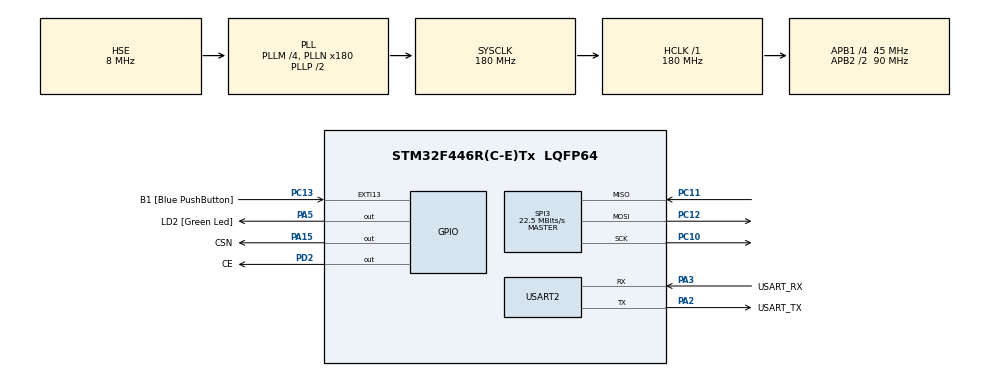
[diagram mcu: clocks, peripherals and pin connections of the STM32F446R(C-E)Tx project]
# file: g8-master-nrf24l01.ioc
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Mcu.Family=STM32F4
Mcu.Name=STM32F446R(C-E)Tx
Mcu.Package=LQFP64
NVIC.PriorityGroup=NVIC_PRIORITYGROUP_0
PA13.GPIO_Label=TMS
PA13.Mode=Serial_Wire
PA13.Signal=SYS_JTMS-SWDIO
PA14.GPIO_Label=TCK
PA14.Mode=Serial_Wire
PA14.Signal=SYS_JTCK-SWCLK
PA15.GPIO_Label=CSN
PA15.Signal=GPIO_Output
PA2.GPIO_Label=USART_TX
PA2.Mode=Asynchronous
PA2.Signal=USART2_TX
PA3.GPIO_Label=USART_RX
PA3.Mode=Asynchronous
PA3.Signal=USART2_RX
PA5.GPIO_Label=LD2 [Green Led]
PA5.Signal=GPIO_Output
PB3.GPIO_Label=SWO
PB3.Signal=SYS_JTDO-SWO
PC10.Mode=Full_Duplex_Master
PC10.Signal=SPI3_SCK
PC11.Mode=Full_Duplex_Master
PC11.Signal=SPI3_MISO
PC12.Mode=Full_Duplex_Master
PC12.Signal=SPI3_MOSI
PC13.GPIO_Label=B1 [Blue PushButton]
PC13.GPIO_ModeDefaultEXTI=GPIO_MODE_IT_FALLING
PC13.Signal=GPXTI13
PC14-OSC32_IN.Mode=LSE-External-Oscillator
PC14-OSC32_IN.Signal=RCC_OSC32_IN
PC15-OSC32_OUT.Mode=LSE-External-Oscillator
PC15-OSC32_OUT.Signal=RCC_OSC32_OUT
PD2.GPIO_Label=CE
PD2.Signal=GPIO_Output
PH0-OSC_IN.Mode=HSE-External-Oscillator
PH0-OSC_IN.Signal=RCC_OSC_IN
PH1-OSC_OUT.Mode=HSE-External-Oscillator
PH1-OSC_OUT.Signal=RCC_OSC_OUT
ProjectManager.HeapSize=0x200
ProjectManager.StackSize=0x400
ProjectManager.TargetToolchain=SW4STM32
RCC.48MHZClocksFreq_Value=84000000
RCC.AHBFreq_Value=180000000
RCC.APB1CLKDivider=RCC_HCLK_DIV4
RCC.APB1Freq_Value=45000000
RCC.APB1TimFreq_Value=90000000
RCC.APB2CLKDivider=RCC_HCLK_DIV2
RCC.APB2Freq_Value=90000000
RCC.APB2TimFreq_Value=180000000
RCC.CortexFreq_Value=180000000
RCC.FLatency-AdvancedSettings=FLASH_LATENCY_5
RCC.HCLKFreq_Value=180000000
RCC.HSE_VALUE=8000000
RCC.HSI_VALUE=16000000
RCC.PLLM=4
RCC.PLLN=180
RCC.PLLSourceVirtual=RCC_PLLSOURCE_HSE
RCC.SYSCLKFreq_VALUE=180000000
RCC.SYSCLKSource=RCC_SYSCLKSOURCE_PLLCLK
RCC.USBFreq_Value=180000000
RCC.VCOOutputFreq_Value=360000000
SPI3.CalculateBaudRate=22.5 MBits/s
SPI3.Direction=SPI_DIRECTION_2LINES
SPI3.Mode=SPI_MODE_MASTER
SPI3.VirtualType=VM_MASTER
USART2.VirtualMode=VM_ASYNC
board=NUCLEO-F446RE

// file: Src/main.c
/**
  ******************************************************************************
  * @file           : main.c
  * @brief          : Main program body
  ******************************************************************************
  ** This notice applies to any and all portions of this file
  * that are not between comment pairs USER CODE BEGIN and
  * USER CODE END. Other portions of this file, whether
  * inserted by the user or by software development tools
  * are owned by their respective copyright owners.
  *
  * COPYRIGHT(c) 2018 STMicroelectronics
  *
  * Redistribution and use in source and binary forms, with or without modification,
  * are permitted provided that the following conditions are met:
  *   1. Redistributions of source code must retain the above copyright notice,
  *      this list of conditions and the following disclaimer.
  *   2. Redistributions in binary form must reproduce the above copyright notice,
  *      this list of conditions and the following disclaimer in the documentation
  *      and/or other materials provided with the distribution.
  *   3. Neither the name of STMicroelectronics nor the names of its contributors
  *      may be used to endorse or promote products derived from this software
  *      without specific prior written permission.
  *
  * THIS SOFTWARE IS PROVIDED BY THE COPYRIGHT HOLDERS AND CONTRIBUTORS "AS IS"
  * AND ANY EXPRESS OR IMPLIED WARRANTIES, INCLUDING, BUT NOT LIMITED TO, THE
  * IMPLIED WARRANTIES OF MERCHANTABILITY AND FITNESS FOR A PARTICULAR PURPOSE ARE
  * DISCLAIMED. IN NO EVENT SHALL THE COPYRIGHT HOLDER OR CONTRIBUTORS BE LIABLE
  * FOR ANY DIRECT, INDIRECT, INCIDENTAL, SPECIAL, EXEMPLARY, OR CONSEQUENTIAL
  * DAMAGES (INCLUDING, BUT NOT LIMITED TO, PROCUREMENT OF SUBSTITUTE GOODS OR
  * SERVICES; LOSS OF USE, DATA, OR PROFITS; OR BUSINESS INTERRUPTION) HOWEVER
  * CAUSED AND ON ANY THEORY OF LIABILITY, WHETHER IN CONTRACT, STRICT LIABILITY,
  * OR TORT (INCLUDING NEGLIGENCE OR OTHERWISE) ARISING IN ANY WAY OUT OF THE USE
  * OF THIS SOFTWARE, EVEN IF ADVISED OF THE POSSIBILITY OF SUCH DAMAGE.
  *
  ******************************************************************************
  */
#include "main.h"
#include "stm32f4xx_hal.h"
#include "spi.h"
#include "usart.h"
#include "gpio.h"

/* USER CODE BEGIN Includes */

#include "lcd.h"
#include "nRF24L01.h"

/* USER CODE END Includes */

/* USER CODE BEGIN PV */
/* Private variables ---------------------------------------------------------*/
/* Channel */
#define MY_CHANNEL 106
//#define MASTER
/* My address */
#ifdef MASTER
/* My address */
uint8_t MyAddress[] = { 0xE7, 0xE7, 0xE7, 0xE7, 0xE7 };
/* Other end address */
uint8_t TxAddress[] = { 0x7E, 0x7E, 0x7E, 0x7E, 0x7E };
#else
/* My address */
uint8_t MyAddress[] = { 0x7E, 0x7E, 0x7E, 0x7E, 0x7E };
/* Other end address */
uint8_t TxAddress[] = { 0xE7, 0xE7, 0xE7, 0xE7, 0xE7 };
#endif

/* Data received and data for send */
uint8_t dataOut[32], dataIn[32];
/* NRF transmission status */
NRF24L01_Transmit_Status_t transmissionStatus;

/* USER CODE END PV */

void SystemClock_Config(void);

/* USER CODE BEGIN PFP */
/* Private function prototypes -----------------------------------------------*/

/* USER CODE END PFP */

int main(void)
{

  /* MCU Configuration----------------------------------------------------------*/

  /* Reset of all peripherals, Initializes the Flash interface and the Systick. */
  HAL_Init();

  /* Configure the system clock */
  SystemClock_Config();

  /* Initialize all configured peripherals */
  MX_GPIO_Init();
  MX_USART2_UART_Init();
  MX_SPI3_Init();
  /* USER CODE BEGIN 2 */
  LCD_Init();

  NRF24L01_Init(&hspi3, MY_CHANNEL, 32);
  /* Set 250kBps data rate and -6dBm output power */
  NRF24L01_SetRF(NRF24L01_DataRate_250k, NRF24L01_OutputPower_M6dBm);

  /* Set my address, 5 bytes */
  NRF24L01_SetMyAddress(MyAddress);
  /* Set TX address, 5 bytes */
  NRF24L01_SetTxAddress(TxAddress);
  /* Time variables & received errors counter */

#ifdef MASTER
	uint32_t sendTime = HAL_GetTick();
	uint8_t errors = 0;
#endif
	uint32_t lastTime = HAL_GetTick();
	int16_t i = 0;

  /* USER CODE END 2 */

  /* Infinite loop */
  /* USER CODE BEGIN WHILE */
  while (1)
  {
#ifdef MASTER
		/* Every 2 seconds */
		if (HAL_GetTick() - lastTime > 2000) {

			/* Fill data with something */
			sprintf((char *) dataOut, "Good news everyone! #%d", i++);
			LCD_Printf("Sending data: \n");
			LCD_Printf("%s\n", dataOut);
			/* Transmit data, goes automatically to TX mode */
			NRF24L01_Transmit(dataOut);
			/* Wait for data to be sent */
			do {
				/* Get transmission status */
				transmissionStatus = NRF24L01_GetTransmissionStatus();
			} while (transmissionStatus == NRF24L01_Transmit_Status_Sending);
			sendTime = HAL_GetTick();

			/* Go back to RX mode */
			NRF24L01_PowerUpRx();
			/* Wait received data, wait max 100ms, if time is larger, then data were probably lost */
			while (!NRF24L01_DataReady() && (HAL_GetTick() - sendTime) < 100);

			/* Show ping time */
			LCD_Printf("%d ms\n", HAL_GetTick() - sendTime);
			LCD_Printf("Receiving back: \n");
			/* Get data from NRF2L01+ */
			NRF24L01_GetData(dataIn);
			LCD_Printf("%s\n", dataIn);
			/* Check transmit status */
			LCD_Printf("Status: ");
			if (transmissionStatus == NRF24L01_Transmit_Status_Ok) {
				/* Transmit went OK */
				LCD_Printf("OK\n");
			} else if (transmissionStatus == NRF24L01_Transmit_Status_Lost) {
				/* Message was LOST */
				LCD_Printf("LOST\n");
			} else {
				/* This should never happen */
				LCD_Printf("SENDING\n");
			}

			errors = 0;
			for (int k = 0; k < sizeof(dataIn) / sizeof(dataIn[0]); k++) {
				errors += (dataIn[k]!=dataOut[k]);
			}
			LCD_Printf("Errors: %d\n", errors);
			LCD_Printf("\n");
			lastTime = HAL_GetTick();
		}
#else
		/* If data is ready on NRF24L01+ */
		if (NRF24L01_DataReady()) {
			LCD_Printf("\n");
			/* Get data from NRF24L01+ */
			NRF24L01_GetData(dataIn);

			LCD_Printf("Data received:\n");
			LCD_Printf("%s\n", dataIn);

			/* Send it back, automatically goes to TX mode */
			LCD_Printf("Sending it back\n");
			NRF24L01_Transmit(dataIn);

			/* Wait for data to be sent */
			do {
				/* Wait till sending */
				transmissionStatus = NRF24L01_GetTransmissionStatus();
			} while (transmissionStatus == NRF24L01_Transmit_Status_Sending);

			/* Send done */
			/* Check transmit status */
			LCD_Printf("Status: ");
			if (transmissionStatus == NRF24L01_Transmit_Status_Ok) {
				/* Transmit went OK */
				LCD_Printf("OK\n");
			} else {
				/* Message was LOST */
				LCD_Printf("ERROR\n");
			}

			/* Go back to RX mode */
			NRF24L01_PowerUpRx();
			i = 0;
		} else {
			if (HAL_GetTick() - lastTime > 250) {
			    if (i == 0) {
			        LCD_Printf("Waiting for data");
			        i++;
			    } else if (i > 23) {
			        LCD_Printf("\r");
			        i = 0;
			    } else {
			        LCD_Printf(".");
			        i++;
			    }
			    lastTime = HAL_GetTick();
			}
		}
#endif

  /* USER CODE END WHILE */

  }

}

void SystemClock_Config(void)
{

  RCC_OscInitTypeDef RCC_OscInitStruct;
  RCC_ClkInitTypeDef RCC_ClkInitStruct;

    /**Configure the main internal regulator output voltage
    */
  __HAL_RCC_PWR_CLK_ENABLE();

  __HAL_PWR_VOLTAGESCALING_CONFIG(PWR_REGULATOR_VOLTAGE_SCALE1);

    /**Initializes the CPU, AHB and APB busses clocks
    */
  RCC_OscInitStruct.OscillatorType = RCC_OSCILLATORTYPE_HSE;
  RCC_OscInitStruct.HSEState = RCC_HSE_ON;
  RCC_OscInitStruct.PLL.PLLState = RCC_PLL_ON;
  RCC_OscInitStruct.PLL.PLLSource = RCC_PLLSOURCE_HSE;
  RCC_OscInitStruct.PLL.PLLM = 4;
  RCC_OscInitStruct.PLL.PLLN = 180;
  RCC_OscInitStruct.PLL.PLLP = RCC_PLLP_DIV2;
  RCC_OscInitStruct.PLL.PLLQ = 2;
  RCC_OscInitStruct.PLL.PLLR = 2;
  if (HAL_RCC_OscConfig(&RCC_OscInitStruct) != HAL_OK)
  {
    _Error_Handler(__FILE__, __LINE__);
  }

    /**Activate the Over-Drive mode
    */
  if (HAL_PWREx_EnableOverDrive() != HAL_OK)
  {
    _Error_Handler(__FILE__, __LINE__);
  }

    /**Initializes the CPU, AHB and APB busses clocks
    */
  RCC_ClkInitStruct.ClockType = RCC_CLOCKTYPE_HCLK|RCC_CLOCKTYPE_SYSCLK
                              |RCC_CLOCKTYPE_PCLK1|RCC_CLOCKTYPE_PCLK2;
  RCC_ClkInitStruct.SYSCLKSource = RCC_SYSCLKSOURCE_PLLCLK;
  RCC_ClkInitStruct.AHBCLKDivider = RCC_SYSCLK_DIV1;
  RCC_ClkInitStruct.APB1CLKDivider = RCC_HCLK_DIV4;
  RCC_ClkInitStruct.APB2CLKDivider = RCC_HCLK_DIV2;

  if (HAL_RCC_ClockConfig(&RCC_ClkInitStruct, FLASH_LATENCY_5) != HAL_OK)
  {
    _Error_Handler(__FILE__, __LINE__);
  }

    /**Configure the Systick interrupt time
    */
  HAL_SYSTICK_Config(HAL_RCC_GetHCLKFreq()/1000);

    /**Configure the Systick
    */
  HAL_SYSTICK_CLKSourceConfig(SYSTICK_CLKSOURCE_HCLK);

  /* SysTick_IRQn interrupt configuration */
  HAL_NVIC_SetPriority(SysTick_IRQn, 0, 0);
}

void _Error_Handler(char *file, int line)
{
  while(1)
  {
  }
}

/************************ (C) COPYRIGHT STMicroelectronics *****END OF FILE****/
